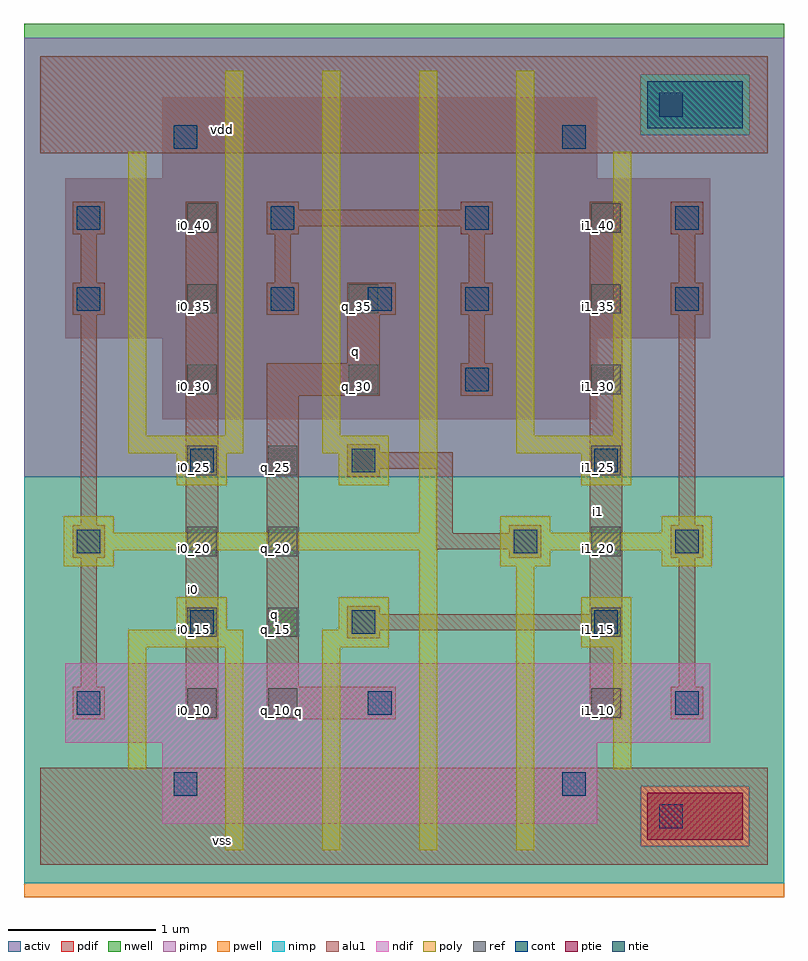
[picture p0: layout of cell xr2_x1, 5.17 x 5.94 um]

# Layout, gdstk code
import gdstk
lib = gdstk.Library(unit=1e-6, precision=2.5e-09)
def R(c, l, rs):  # rectangles x0, y0, x1, y1
    for r in rs: c.add(gdstk.rectangle(r[:2], r[2:], *l))
def A(c, l, x, y, w, h, nx, ny, dx, dy):  # array of equal rectangles
    R(c, l, [(x+i*dx, y+j*dy, x+i*dx+w, y+j*dy+h) for i in range(nx) for j in range(ny)])
ndif = (3, 0)
pdif = (4, 0)
ntie = (5, 0)
ptie = (6, 0)
ref = (24, 0)
cont = (25, 0)
pwell = (41, 0)
nwell = (42, 0)
activ = (43, 0)
pimp = (44, 0)
nimp = (45, 0)
poly = (46, 0)
alu1 = (49, 0)

xr2_x1 = lib.new_cell('xr2_x1')
R(xr2_x1, ndif, [(0.83,0.28,3.79,0.83), (0.83,0.28,3.79,0.83), (0.17,0.83,4.56,1.37), (0.17,0.83,4.56,1.37)])
R(xr2_x1, pdif, [(0.83,3.03,3.79,3.58), (0.83,3.03,3.79,3.58), (0.17,3.58,4.56,4.67), (0.17,3.58,4.56,4.67), (0.83,4.67,3.79,5.22), (0.83,4.67,3.79,5.22)])
R(xr2_x1, ntie, [(4.13,5.01,4.78,5.33), (4.13,5.01,4.78,5.33)])
R(xr2_x1, ptie, [(4.13,0.17,4.78,0.49), (4.13,0.17,4.78,0.49)])
A(xr2_x1, ref, 1, 1, 0.2, 0.2, 1, 7, 0, 0.55)
A(xr2_x1, ref, 1.55, 1, 0.2, 0.2, 1, 4, 0, 0.55)
A(xr2_x1, ref, 3.75, 1, 0.2, 0.2, 1, 7, 0, 0.55)
R(xr2_x1, ref, [(2.1,3.2,2.3,3.4), (2.1,3.75,2.3,3.95)])
A(xr2_x1, cont, 1.57, 3.77, 0.16, 0.16, 3, 1, 0.66, 0)
A(xr2_x1, cont, 0.25, 4.32, 0.16, 0.16, 3, 1, 1.32, 0)
R(xr2_x1, cont, [(4.21,0.25,4.37,0.41), (0.91,0.47,1.07,0.63), (3.55,0.47,3.71,0.63), (0.25,1.02,0.41,1.18), (2.23,1.02,2.39,1.18), (4.32,1.02,4.48,1.18), (1.02,1.57,1.18,1.73), (2.12,1.57,2.28,1.73), (3.77,1.57,3.93,1.73), (0.25,2.12,0.41,2.28), (3.22,2.12,3.38,2.28), (4.32,2.12,4.48,2.28), (1.02,2.67,1.18,2.83), (2.12,2.67,2.28,2.83), (3.77,2.67,3.93,2.83), (2.89,3.22,3.05,3.38), (0.25,3.77,0.41,3.93), (4.32,3.77,4.48,3.93), (4.32,4.32,4.48,4.48), (0.91,4.87,1.07,5.03), (3.55,4.87,3.71,5.03), (4.21,5.09,4.37,5.25)])
R(xr2_x1, pwell, [(-0.11,-0.22,5.06,2.64)])
R(xr2_x1, nwell, [(-0.11,2.64,5.06,5.72)])
R(xr2_x1, activ, [(4.13,0.17,4.78,0.49), (4.13,0.17,4.78,0.49), (0.83,0.28,3.79,0.83), (0.83,0.28,3.79,0.83), (0.17,0.83,4.56,1.37), (0.17,0.83,4.56,1.37), (0.83,3.03,3.79,3.58), (0.83,3.03,3.79,3.58), (0.17,3.58,4.56,4.67), (0.17,3.58,4.56,4.67), (0.83,4.67,3.79,5.22), (0.83,4.67,3.79,5.22), (4.13,5.01,4.78,5.33), (4.13,5.01,4.78,5.33)])
R(xr2_x1, pimp, [(4.085,0.125,4.825,0.535), (-0.11,2.64,5.06,4.965), (-0.11,4.965,4.085,5.375), (4.825,4.965,5.06,5.375), (-0.11,5.375,5.06,5.625)])
R(xr2_x1, nimp, [(-0.11,-0.125,5.06,0.125), (-0.11,0.125,4.085,0.535), (4.825,0.125,5.06,0.535), (-0.11,0.535,5.06,2.64), (4.085,4.965,4.825,5.375)])
R(xr2_x1, poly, [(1.26,0.1,1.38,1.48), (1.92,0.1,2.04,1.48), (2.58,0.1,2.7,2.14), (3.24,0.1,3.36,2.03), (0.6,0.65,0.72,1.48), (3.9,0.65,4.02,1.48), (0.6,1.48,1.38,1.6), (1.92,1.48,2.37,1.6), (3.68,1.48,4.02,1.82), (0.93,1.6,1.27,1.82), (2.03,1.6,2.37,1.82), (0.16,2.03,0.5,2.14), (3.13,2.03,3.47,2.14), (4.23,2.03,4.57,2.14), (0.16,2.14,2.7,2.26), (3.13,2.14,4.57,2.26), (0.16,2.26,0.5,2.37), (2.58,2.26,2.7,5.4), (3.13,2.26,3.47,2.37), (4.23,2.26,4.57,2.37), (0.93,2.58,1.27,2.8), (2.03,2.58,2.37,2.8), (3.68,2.58,4.02,2.8), (0.6,2.8,1.38,2.92), (1.92,2.8,2.37,2.92), (3.24,2.8,4.02,2.92), (0.6,2.92,0.72,4.85), (1.26,2.92,1.38,5.4), (1.92,2.92,2.04,5.4), (3.24,2.92,3.36,5.4), (3.9,2.92,4.02,4.85)])
A(xr2_x1, alu1, 0.22, 3.74, 0.22, 0.22, 3, 1, 1.32, 0)
A(xr2_x1, alu1, 0.275, 3.96, 0.11, 0.33, 3, 1, 1.32, 0)
R(xr2_x1, alu1, [(0,0,4.95,0.66), (0.22,0.99,0.44,1.21), (0.99,0.99,1.21,4.51), (1.54,0.99,2.42,1.21), (3.74,0.99,3.96,1.595), (4.29,0.99,4.51,1.21), (0.275,1.21,0.385,2.09), (1.54,1.21,1.76,3.19), (4.345,1.21,4.455,2.09), (2.09,1.54,2.31,1.595), (2.09,1.595,3.96,1.705), (2.09,1.705,2.31,1.76), (3.74,1.705,3.96,4.51), (0.22,2.09,0.44,2.31), (3.19,2.09,3.41,2.145), (4.29,2.09,4.51,2.31), (2.695,2.145,3.41,2.255), (2.695,2.255,2.805,2.695), (3.19,2.255,3.41,2.31), (0.275,2.31,0.385,3.74), (4.345,2.31,4.455,3.74), (2.09,2.64,2.31,2.695), (2.09,2.695,2.805,2.805), (2.09,2.805,2.31,2.86), (1.54,3.19,2.31,3.41), (2.86,3.19,3.08,3.41), (2.09,3.41,2.31,3.74), (2.915,3.41,3.025,3.74), (2.09,3.74,2.42,3.96), (4.29,3.74,4.51,3.96), (4.345,3.96,4.455,4.29), (0.22,4.29,0.44,4.51), (1.54,4.29,1.76,4.345), (2.86,4.29,3.08,4.345), (4.29,4.29,4.51,4.51), (1.54,4.345,3.08,4.455), (1.54,4.455,1.76,4.51), (2.86,4.455,3.08,4.51), (0,4.84,4.95,5.5)])
xr2_x1.add(gdstk.Label('vss', (1.2375,0.165), layer=49, texttype=0))
xr2_x1.add(gdstk.Label('q', (1.76,1.045), layer=49, texttype=0))
xr2_x1.add(gdstk.Label('i1', (3.795,2.405), layer=49, texttype=0))
xr2_x1.add(gdstk.Label('q', (1.595,1.705), layer=49, texttype=0))
xr2_x1.add(gdstk.Label('q', (2.145,3.4925), layer=49, texttype=0))
xr2_x1.add(gdstk.Label('i0', (1.045,1.87), layer=49, texttype=0))
xr2_x1.add(gdstk.Label('vdd', (1.2375,5.005), layer=49, texttype=0))
xr2_x1.add(gdstk.Label('q_30', (2.15,3.25), layer=24, texttype=0))
xr2_x1.add(gdstk.Label('q_35', (2.15,3.8), layer=24, texttype=0))
xr2_x1.add(gdstk.Label('i1_40', (3.8,4.35), layer=24, texttype=0))
xr2_x1.add(gdstk.Label('i1_35', (3.8,3.8), layer=24, texttype=0))
xr2_x1.add(gdstk.Label('i1_30', (3.8,3.25), layer=24, texttype=0))
xr2_x1.add(gdstk.Label('i1_25', (3.8,2.7), layer=24, texttype=0))
xr2_x1.add(gdstk.Label('i1_20', (3.8,2.15), layer=24, texttype=0))
xr2_x1.add(gdstk.Label('i1_15', (3.8,1.6), layer=24, texttype=0))
xr2_x1.add(gdstk.Label('i1_10', (3.8,1.05), layer=24, texttype=0))
xr2_x1.add(gdstk.Label('i0_40', (1.05,4.35), layer=24, texttype=0))
xr2_x1.add(gdstk.Label('i0_35', (1.05,3.8), layer=24, texttype=0))
xr2_x1.add(gdstk.Label('i0_30', (1.05,3.25), layer=24, texttype=0))
xr2_x1.add(gdstk.Label('i0_20', (1.05,2.15), layer=24, texttype=0))
xr2_x1.add(gdstk.Label('i0_25', (1.05,2.7), layer=24, texttype=0))
xr2_x1.add(gdstk.Label('i0_15', (1.05,1.6), layer=24, texttype=0))
xr2_x1.add(gdstk.Label('i0_10', (1.05,1.05), layer=24, texttype=0))
xr2_x1.add(gdstk.Label('q_10', (1.6,1.05), layer=24, texttype=0))
xr2_x1.add(gdstk.Label('q_15', (1.6,1.6), layer=24, texttype=0))
xr2_x1.add(gdstk.Label('q_20', (1.6,2.15), layer=24, texttype=0))
xr2_x1.add(gdstk.Label('q_25', (1.6,2.7), layer=24, texttype=0))

lib.write_gds('xr2_x1.gds')
